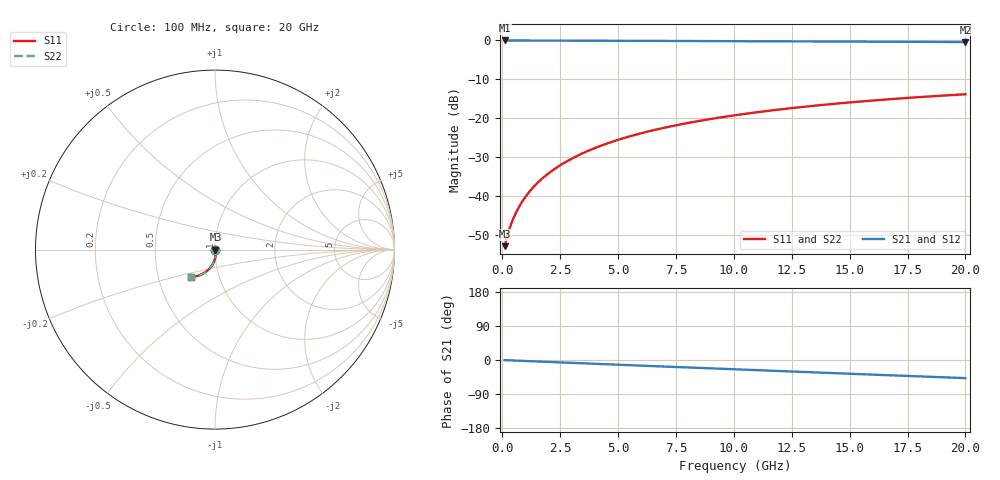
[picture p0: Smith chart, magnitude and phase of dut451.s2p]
! Touchstone file exported from HFSS 2026.1.0
!  File:  C:/ffzhzh/LocalFiles/Ansys_Project_Files/temp_train_BSMRDL_451_1783013280_53980.aedt
!  Generated:  01:29:53 AM Jul  3, 2026
!  Design:  BSMRDL
!  Project:  temp_train_BSMRDL_451_1783013280_53980
! Variables:
!  h_bsmrdl = 5.87um
!  h_ox = 20um
!  h_rdl = 5um
!  h_sub = 80um
!  h_tmrdl = 5um
!  h_tsv = 80um
!  h_via = 3um
!  l_bsmrdl = 839.99um
!  l_sub = 1239.99um
!  l_tmrdl = 200um
!  m_sub = 200um
!  pitch = 32.07um
!  r_tsv = 6um
!  s_tmrdl = 10um
!  w_bsmrdl = 28.91um
!  w_sub = 500um
!  w_tmrdl = 12um
!  x_tsv_center1 = 206um
!  x_tsv_center2 = 1074.9um
!  x_tsv_center3 = 1286.9um
!  x_tsv_center4 = 2155.8um
!  x_tsv_center5 = 2367.8um
!  x_tsv_center6 = 3236.7um
# GHz S MA R 50.000000
! Terminal data exported
! Port[1] = BSM_RDL1_1_T1
! Port[2] = BSM_RDL1_1_T2
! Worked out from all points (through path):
!   200 points, 100 MHz to 20 GHz, reference 50 ohm
!   highest |S21| = -0.02 dB at 100 MHz (marker M1); lowest = -0.4 dB at 20 GHz (marker M2)
!   group delay of S21, straight-line fit = 6.61 ps
!   lowest |S11| = -53.0 dB at 100 MHz (marker M3), VSWR 1.00, Z = 50.2 - j0.0135 ohm
!   |S11| at or under -10 dB: start of sweep to end of sweep
!   |S22| runs from -53.0 to -13.9 dB; largest |S21 - S12| = 1.3e-13
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0.1  0.00224 -3.4  0.9978 -0.3  0.9978 -0.3  0.00224 -3.4
! Gamma 0 0 0 0
! Port Impedance 50 0 50 0
0.2  0.002935 -16.1  0.9972 -0.6  0.9972 -0.6  0.002935 -16.1
0.3  0.003682 -28.8  0.9967 -0.8  0.9967 -0.8  0.003682 -28.8
0.5  0.005272 -46.5  0.9963 -1.3  0.9963 -1.3  0.005272 -46.5
0.6  0.006111 -52.3  0.9961 -1.6  0.9961 -1.6  0.006111 -52.3
0.8  0.007855 -60.3  0.9958 -2.1  0.9958 -2.1  0.007856 -60.3
1  0.009667 -65.5  0.9956 -2.6  0.9956 -2.6  0.009668 -65.5
1.2  0.01153 -69.2  0.9953 -3.1  0.9953 -3.1  0.01153 -69.1
1.4  0.01344 -71.8  0.9949 -3.6  0.9949 -3.6  0.01345 -71.8
1.7  0.01639 -74.8  0.9944 -4.4  0.9944 -4.4  0.01639 -74.8
2.2  0.02148 -78.4  0.9934 -5.6  0.9934 -5.6  0.02149 -78.4
2.8  0.02785 -81.6  0.9921 -7.1  0.9921 -7.1  0.02786 -81.5
3.5  0.03552 -84.6  0.9906 -8.8  0.9906 -8.8  0.03553 -84.6
4.2  0.04336 -87.4  0.9891 -10.5  0.9891 -10.5  0.04337 -87.3
5  0.05241 -90.3  0.9875 -12.5  0.9875 -12.5  0.05242 -90.3
5.9  0.06262 -93.4  0.9856 -14.7  0.9856 -14.7  0.06263 -93.3
6.8  0.07278 -96.3  0.9838 -16.8  0.9838 -16.8  0.07281 -96.2
8.3  0.08953 -100.9  0.9807 -20.4  0.9807 -20.4  0.08956 -100.8
10.1  0.1092 -106.0  0.9767 -24.7  0.9767 -24.7  0.1092 -105.9
13.4  0.1433 -114.9  0.969 -32.5  0.969 -32.5  0.1434 -114.8
16.7  0.1746 -123.2  0.9606 -40.2  0.9606 -40.2  0.1747 -123.1
20  0.2023 -131.3  0.9519 -47.8  0.9519 -47.8  0.2024 -131.2
